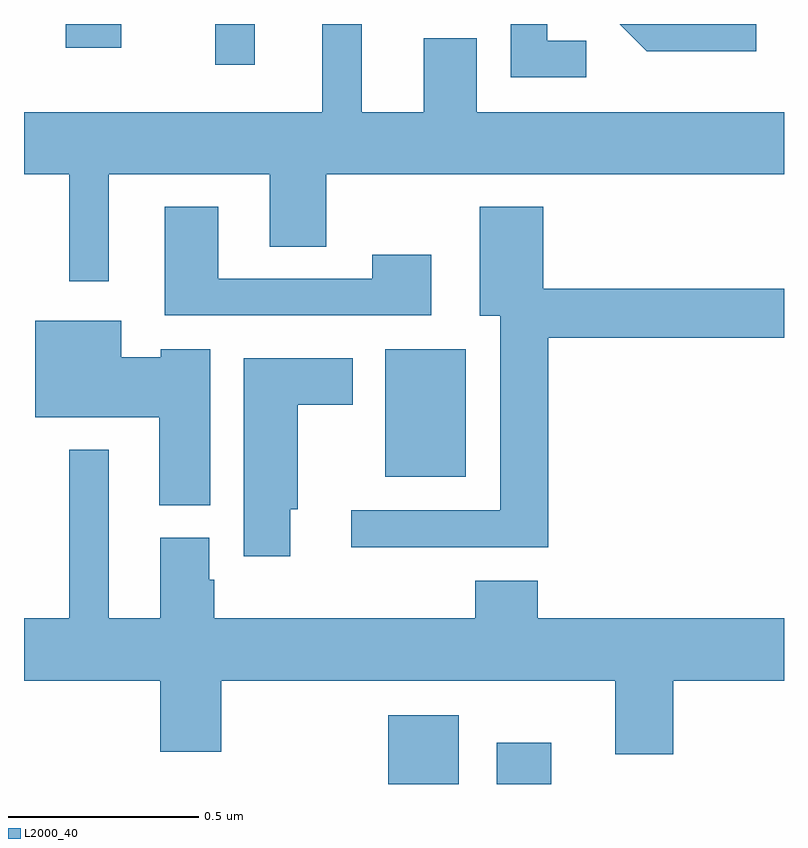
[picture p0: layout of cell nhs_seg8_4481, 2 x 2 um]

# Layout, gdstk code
import gdstk
lib = gdstk.Library(unit=1e-6, precision=1e-09)
def R(c, l, rs):  # rectangles x0, y0, x1, y1
    for r in rs: c.add(gdstk.rectangle(r[:2], r[2:], *l))
def P(c, l, *ps):  # polygons
    for p in ps: c.add(gdstk.Polygon(p, *l))
L2000_40 = (2000, 40)

nhs_seg8_4481 = lib.new_cell('nhs_seg8_4481')
R(nhs_seg8_4481, L2000_40, [(171.959,1110.9,172.144,1111.081), (172.244,1110.9,172.387,1111.009), (171.95,1111.709,172.162,1112.044), (171.503,1112.793,171.607,1112.9), (171.11,1112.838,171.256,1112.9)])
P(nhs_seg8_4481, L2000_40, [(171.223,1112.504),(171.647,1112.504),(171.647,1112.314),(171.795,1112.314),(171.795,1112.504),(173,1112.504),(173,1112.668),(172.192,1112.668),(172.192,1112.863),(172.052,1112.863),(172.052,1112.668),(171.889,1112.668),(171.889,1112.9),(171.785,1112.9),(171.785,1112.668),(171,1112.668),(171,1112.504),(171.119,1112.504),(171.119,1112.223),(171.223,1112.223)],
  [(172.927,1112.9),(172.568,1112.9),(172.639,1112.828),(172.927,1112.828)],
  [(172.48,1112.856),(172.377,1112.856),(172.377,1112.9),(172.281,1112.9),(172.281,1112.76),(172.48,1112.76)],
  [(172.072,1112.293),(171.916,1112.293),(171.916,1112.229),(171.511,1112.229),(171.511,1112.419),(171.371,1112.419),(171.371,1112.133),(172.072,1112.133)],
  [(172.379,1112.074),(173,1112.074),(173,1112.203),(172.366,1112.203),(172.366,1112.419),(172.199,1112.419),(172.199,1112.132),(172.253,1112.132),(172.253,1111.62),(171.861,1111.62),(171.861,1111.523),(172.379,1111.523)],
  [(171.49,1112.044),(171.36,1112.044),(171.36,1112.023),(171.256,1112.023),(171.256,1112.119),(171.029,1112.119),(171.029,1111.865),(171.356,1111.865),(171.356,1111.633),(171.49,1111.633)],
  [(171.7,1111.623),(171.721,1111.623),(171.721,1111.898),(171.865,1111.898),(171.865,1112.02),(171.578,1112.02),(171.578,1111.5),(171.7,1111.5)],
  [(172.709,1111.172),(173,1111.172),(173,1111.336),(172.352,1111.336),(172.352,1111.435),(172.187,1111.435),(172.187,1111.336),(171.5,1111.336),(171.5,1111.437),(171.487,1111.437),(171.487,1111.548),(171.359,1111.548),(171.359,1111.336),(171.223,1111.336),(171.223,1111.78),(171.119,1111.78),(171.119,1111.336),(171,1111.336),(171,1111.172),(171.359,1111.172),(171.359,1110.985),(171.519,1110.985),(171.519,1111.172),(172.556,1111.172),(172.556,1110.978),(172.709,1110.978)])

lib.write_gds('nhs_seg8_4481.gds')
